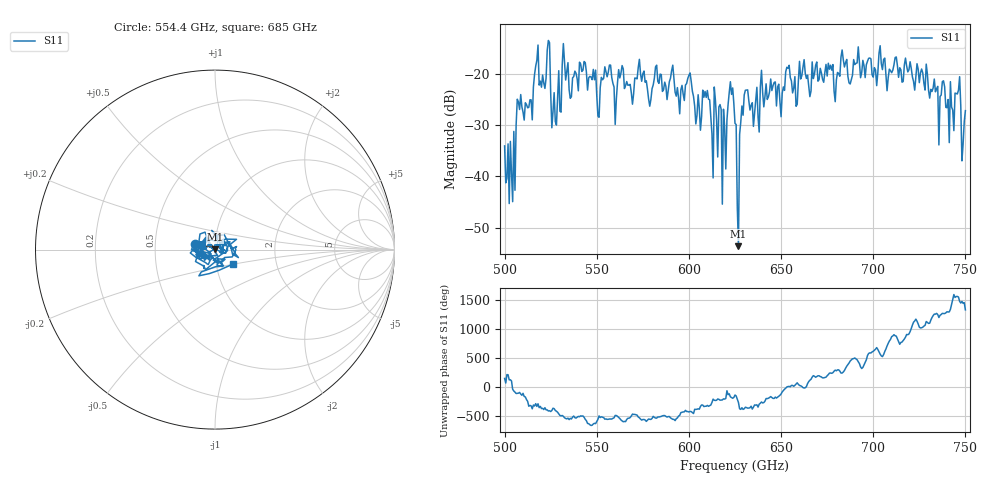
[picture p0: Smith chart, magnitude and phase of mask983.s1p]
!Created with skrf (http://scikit-rf.org).
# GHz S MA R 50.0
!freq magS11 angS11
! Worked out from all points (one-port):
!   401 points, 500 GHz to 750 GHz, reference 50 ohm
!   lowest |S11| = -53.6 dB at 626.9 GHz (marker M1), VSWR 1.00, Z = 50 + j0.208 ohm
!   |S11| at or under -10 dB: start of sweep to end of sweep
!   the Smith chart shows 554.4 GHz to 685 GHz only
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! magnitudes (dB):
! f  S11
! 500 GHz  -34.1
! 505 GHz  -31.2
! 507.5 GHz  -25.5
! 513.8 GHz  -25.0
! 516.9 GHz  -18.5
! 523.8 GHz  -13.5
! 526.9 GHz  -23.7
! 531.2 GHz  -18.3
! 542.5 GHz  -19.3
! 551.2 GHz  -28.5
! 562.5 GHz  -20.8
! 590.6 GHz  -19.3
! 593.8 GHz  -22.7
! 610 GHz  -23.2
! 619.4 GHz  -30.3
! 623.1 GHz  -24.0
! 625 GHz  -29.7
! 626.9 GHz  -53.6
! 628.8 GHz  -26.3
! 631.2 GHz  -23.1
! 656.2 GHz  -23.7
! 680 GHz  -21.2
! 683.8 GHz  -17.2
! 687.5 GHz  -22.0
! 718.8 GHz  -19.6
! 742.5 GHz  -26.5
! 745.6 GHz  -23.9
! 750 GHz  -27.2
